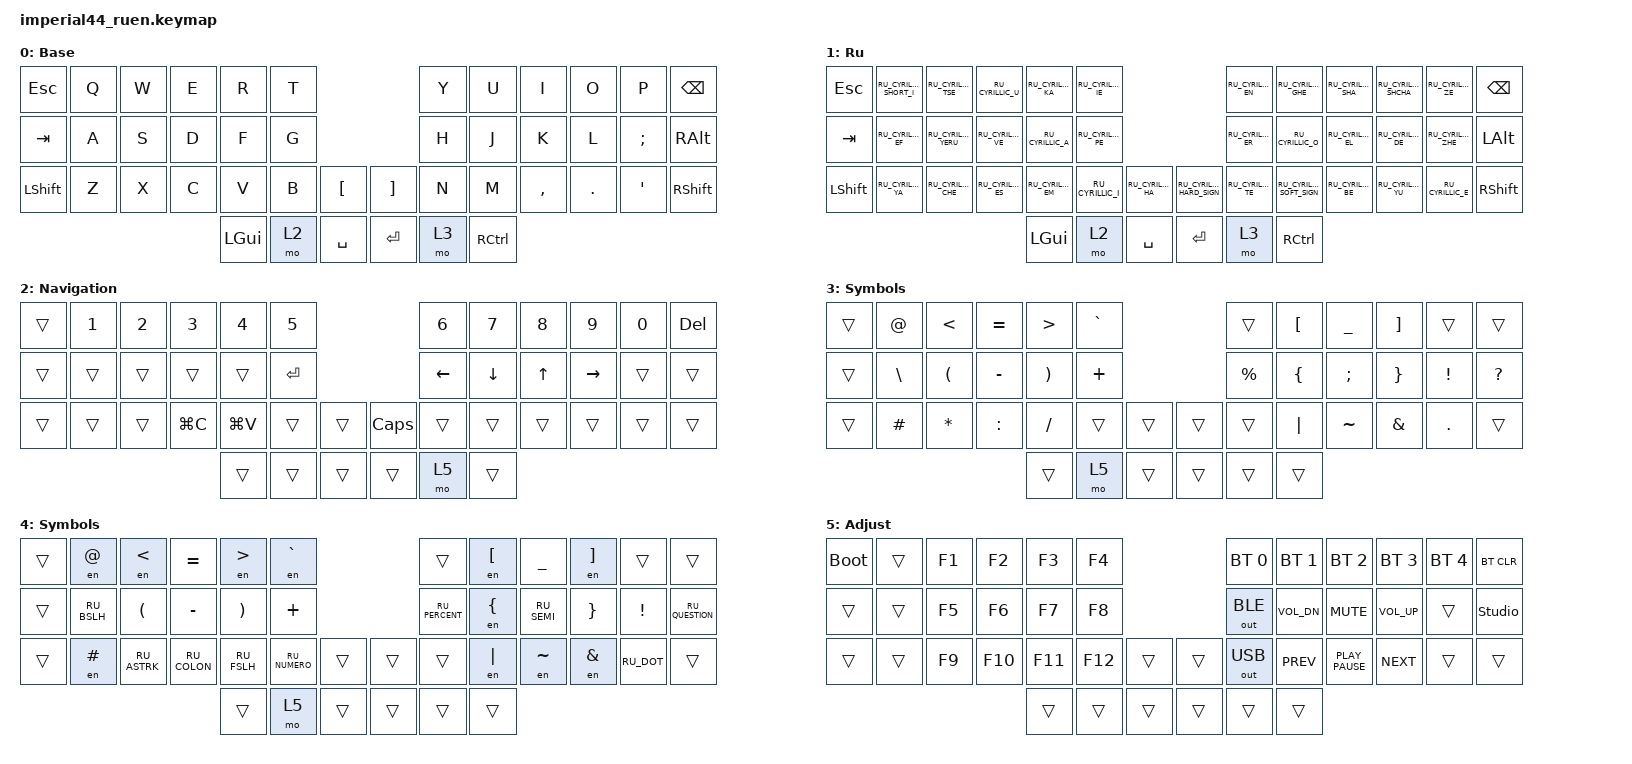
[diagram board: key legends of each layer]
#include "keys_ru.h"
#include <behaviors.dtsi>
#include <dt-bindings/zmk/bt.h>
#include <dt-bindings/zmk/keys.h>
#include <dt-bindings/zmk/outputs.h>

/ {
    combos {
        compatible = "zmk,combos";

        cmben {
            bindings = <&layer_en>;
            key-positions = <>;
            layers = <1>;
        };

        cmbru {
            bindings = <&layer_ru>;
            key-positions = <>;
            layers = <0>;
        };

        l_sym {
            bindings = <&to 4>;
            key-positions = <42 38 1>;
            layers = <0>;
        };

        l_base {
            bindings = <&to 0>;
            key-positions = <42 38 1>;
            layers = <4 3>;
        };
    };

    macros {
        to_ru: to_ru {
            compatible = "zmk,behavior-macro";
            #binding-cells = <0>;
            bindings = <&kp LS(LC(N2))>;
            label = "TO_RU";
            wait-ms = <0>;
            tap-ms = <30>;
        };

        to_en: to_en {
            compatible = "zmk,behavior-macro";
            #binding-cells = <0>;
            bindings = <&kp LS(LC(N1))>;
            label = "TO_EN";
            wait-ms = <0>;
            tap-ms = <30>;
        };

        layer_en: layer_en {
            compatible = "zmk,behavior-macro";
            #binding-cells = <0>;
            bindings = <&to 0 &to_en>;
            label = "LAYER_EN";
            wait-ms = <0>;
            tap-ms = <30>;
        };

        layer_ru: layer_ru {
            compatible = "zmk,behavior-macro";
            #binding-cells = <0>;
            bindings = <&to 1 &to_ru>;
            label = "LAYER_RU";
            tap-ms = <30>;
            wait-ms = <0>;
        };

        en: en {
            compatible = "zmk,behavior-macro-one-param";
            #binding-cells = <1>;
            bindings =
                <&to_en>,
                <&macro_press>,
                <&macro_param_1to1 &kp MACRO_PLACEHOLDER>,
                <&macro_pause_for_release>,
                <&macro_release>,
                <&macro_param_1to1 &kp MACRO_PLACEHOLDER>,
                <&macro_tap>,
                <&to_ru>;

            label = "EN";
            wait-ms = <0>;
            tap-ms = <30>;
        };
    };

    keymap {
        compatible = "zmk,keymap";

        en {
            bindings = <
&kp ESC    &kp Q  &kp W  &kp E  &kp R         &kp T                          &kp Y  &kp U      &kp I      &kp O    &kp P     &kp BACKSPACE
&kp TAB    &kp A  &kp S  &kp D  &kp F         &kp G                          &kp H  &kp J      &kp K      &kp L    &kp SEMI  &kp RIGHT_ALT
&kp LSHFT  &kp Z  &kp X  &kp C  &kp V         &kp B  &kp LBKT     &kp RBKT   &kp N  &kp M      &kp COMMA  &kp DOT  &kp SQT   &kp RSHFT
                                &kp LEFT_GUI  &mo 2  &kp SPACE    &kp ENTER  &mo 3  &kp RCTRL
            >;

            display-name = "Base";
        };

        ru {
            display-name = "Ru";
            bindings = <
&kp ESC    &kp RU_CYRILLIC_SHORT_I  &kp RU_CYRILLIC_TSE   &kp RU_CYRILLIC_U   &kp RU_CYRILLIC_KA  &kp RU_CYRILLIC_IE                                                   &kp RU_CYRILLIC_EN  &kp RU_CYRILLIC_GHE        &kp RU_CYRILLIC_SHA  &kp RU_CYRILLIC_SHCHA  &kp RU_CYRILLIC_ZE   &kp BACKSPACE
&kp TAB    &kp RU_CYRILLIC_EF       &kp RU_CYRILLIC_YERU  &kp RU_CYRILLIC_VE  &kp RU_CYRILLIC_A   &kp RU_CYRILLIC_PE                                                   &kp RU_CYRILLIC_ER  &kp RU_CYRILLIC_O          &kp RU_CYRILLIC_EL   &kp RU_CYRILLIC_DE     &kp RU_CYRILLIC_ZHE  &kp LEFT_ALT
&kp LSHFT  &kp RU_CYRILLIC_YA       &kp RU_CYRILLIC_CHE   &kp RU_CYRILLIC_ES  &kp RU_CYRILLIC_EM  &kp RU_CYRILLIC_I   &kp RU_CYRILLIC_HA    &kp RU_CYRILLIC_HARD_SIGN  &kp RU_CYRILLIC_TE  &kp RU_CYRILLIC_SOFT_SIGN  &kp RU_CYRILLIC_BE   &kp RU_CYRILLIC_YU     &kp RU_CYRILLIC_E    &kp RSHFT
                                                                              &kp LEFT_GUI        &mo 2               &kp SPACE             &kp ENTER                  &mo 3               &kp RCTRL
            >;
        };

        nav {
            bindings = <
&trans  &kp N1  &kp N2  &kp N3     &kp N4     &kp N5                           &kp N6          &kp N7          &kp N8        &kp N9           &kp N0  &kp DELETE
&trans  &trans  &trans  &trans     &trans     &kp RET                          &kp LEFT_ARROW  &kp DOWN_ARROW  &kp UP_ARROW  &kp RIGHT_ARROW  &trans  &trans
&trans  &trans  &trans  &kp LG(C)  &kp LG(V)  &trans   &trans    &kp CAPSLOCK  &trans          &trans          &trans        &trans           &trans  &trans
                                   &trans     &trans   &trans    &trans        &mo 5           &trans
            >;

            display-name = "Navigation";
        };

        sym_en {
            bindings = <
&trans  &kp AT    &kp LT    &kp EQUAL  &kp GT    &kp GRAVE                    &trans     &kp LBKT  &kp UNDER  &kp RBKT  &trans    &trans
&trans  &kp BSLH  &kp LPAR  &kp MINUS  &kp RPAR  &kp PLUS                     &kp PRCNT  &kp LBRC  &kp SEMI   &kp RBRC  &kp EXCL  &kp QUESTION
&trans  &kp HASH  &kp STAR  &kp COLON  &kp FSLH  &trans     &trans    &trans  &trans     &kp PIPE  &kp TILDE  &kp AMPS  &kp DOT   &trans
                                       &trans    &mo 5      &trans    &trans  &trans     &trans
            >;

            display-name = "Symbols";
        };

        sym_ru {
            display-name = "Symbols";
            bindings = <
&trans  &en AT_SIGN  &en LT        &kp EQUAL     &en GT       &en GRAVE                        &trans          &en LBKT  &kp UNDER    &en RBKT  &trans      &trans
&trans  &kp RU_BSLH  &kp LPAR      &kp MINUS     &kp RPAR     &kp PLUS                         &kp RU_PERCENT  &en LBRC  &kp RU_SEMI  &kp RBRC  &kp EXCL    &kp RU_QUESTION
&trans  &en HASH     &kp RU_ASTRK  &kp RU_COLON  &kp RU_FSLH  &kp RU_NUMERO  &trans    &trans  &trans          &en PIPE  &en TILDE    &en AMPS  &kp RU_DOT  &trans
                                                 &trans       &mo 5          &trans    &trans  &trans          &trans
            >;
        };

        adj {
            bindings = <
&bootloader  &trans  &kp F1  &kp F2   &kp F3   &kp F4                     &bt BT_SEL 0  &bt BT_SEL 1  &bt BT_SEL 2      &bt BT_SEL 3  &bt BT_SEL 4  &bt BT_CLR
&trans       &trans  &kp F5  &kp F6   &kp F7   &kp F8                     &out OUT_BLE  &kp C_VOL_DN  &kp K_MUTE        &kp C_VOL_UP  &trans        &studio_unlock
&trans       &trans  &kp F9  &kp F10  &kp F11  &kp F12  &trans    &trans  &out OUT_USB  &kp K_PREV    &kp K_PLAY_PAUSE  &kp K_NEXT    &trans        &trans
                                      &trans   &trans   &trans    &trans  &trans        &trans
            >;

            display-name = "Adjust";
        };
    };
};
